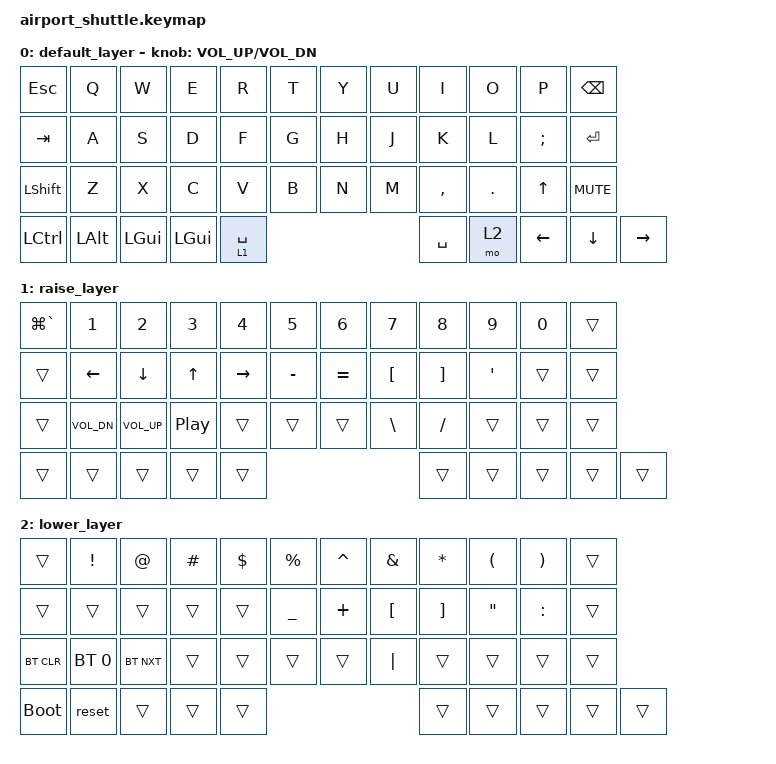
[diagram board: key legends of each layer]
#include <behaviors.dtsi>
#include <dt-bindings/zmk/keys.h>
#include <dt-bindings/zmk/bt.h>

/ {
  keymap {
    compatible = "zmk,keymap";

    default_layer {
// -----------------------------------------------------------------------------------------
// |  ESC  |  Q   |  W   |  E   |  R   |  T   |   Y   |  U    |  I   |  O   |   P   | BSPC   |
// |  TAB  |  A   |  S   |  D   |  F   |  G   |   H   |  J    |  K   |  L   |   ;   |  RET   |
// | SHIFT |  Z   |  X   |  C   |  V   |  B   |   N   |  M    |  ,   |  .   |   Up  |  Mute  |
// | LCTRL | LALT | LGUIx2 |    RAIS   |     SPACE    |  Lower | ----  | Left | Down   |  Right |
      bindings = <
  &kp ESC     &kp Q     &kp W &kp E &kp R &kp T  &kp Y   &kp U  &kp I    &kp O   &kp P    &kp BKSP
  &kp TAB     &kp A     &kp S &kp D &kp F &kp G  &kp H   &kp J  &kp K    &kp L   &kp SCLN &kp RET
  &kp LSHFT   &kp Z     &kp X &kp C &kp V &kp B  &kp N   &kp M  &kp CMMA &kp DOT &kp UP &kp C_MUTE
  &kp LCTRL   &kp LALT  &kp LEFT_GUI &kp LEFT_GUI  &lt 1 SPC  &kp SPC &mo 2 &kp LEFT &kp DOWN &kp RIGHT
      >;

      sensor-bindings = <&inc_dec_kp C_VOL_UP C_VOL_DN>;
    };

    raise_layer {
// -----------------------------------------------------------------------------------------
// |  trn  |  1   |  2   |  3   |  4   |  5   |   6   |  7    |  8   |  9   |   0   |  trn   |
// |  trn  |  LFT   |  DN   |  UP   |  RIT   |  -   |   =   |  [    |  ]   |  '   |   trn  |  trn   |
// |  trn  |  BT CLR   |  BT 0   |  trn   |  trn   |  trn   |   trn   |  \    |  trn  |  trn  |   trn   |  trn   |
// |  trn  |  trn | trns | ---  | ---- |     trns     |  ---- | ---- | RGUI | RALT  |  RCTRL |
      bindings = <
      &kp LG(GRAVE) &kp NUM_1 &kp NUM_2 &kp NUM_3 &kp NUM_4 &kp NUM_5 &kp NUM_6 &kp NUM_7 &kp NUM_8 &kp NUM_9 &kp NUM_0 &trans
      &trans &kp LEFT &kp DOWN &kp UP &kp RIGHT &kp MINUS &kp EQUAL &kp LBKT &kp RBKT &kp SQT &trans &trans
      &trans &kp C_VOL_DN &kp C_VOL_UP &kp C_PP &trans &trans &trans &kp BSLH &kp SLASH &trans &trans &trans
      &trans &trans &trans &trans &trans &trans &trans &trans &trans &trans
      >;
    };

    lower_layer {
      bindings = <
      &trans &kp EXCL &kp AT &kp POUND &kp DLLR &kp PRCNT &kp CARET &kp AMPS &kp STAR &kp LPAR &kp RPAR &trans
      &trans &trans &trans &trans &trans &kp UNDER &kp PLUS &kp LBKT &kp RBKT &kp DQT &kp COLON &trans
      &bt BT_CLR &bt BT_SEL 0 &bt BT_NXT &trans &trans &trans &trans &kp PIPE &trans &trans &trans &trans
      &bootloader &reset &trans &trans &trans &trans &trans &trans &trans &trans
      >;
    };
  };
};
